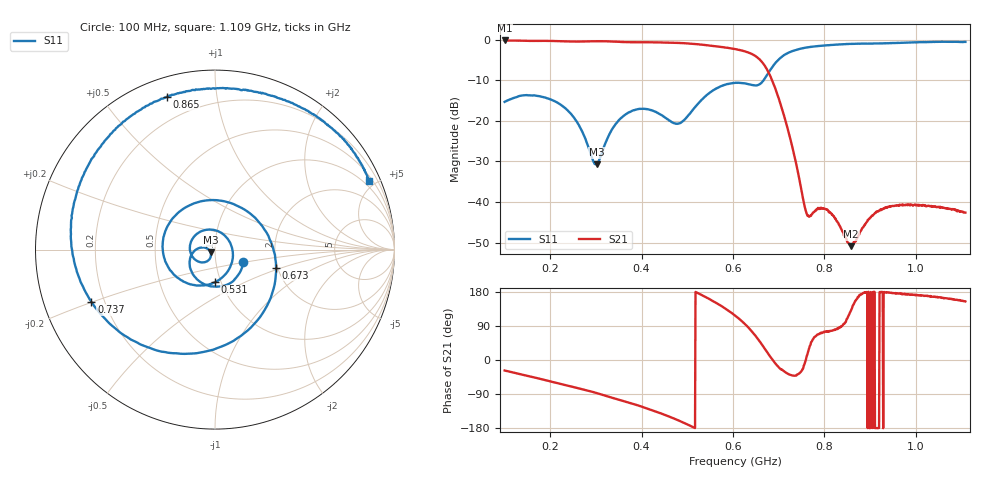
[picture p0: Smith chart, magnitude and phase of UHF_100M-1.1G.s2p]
# HZ S RI R 50
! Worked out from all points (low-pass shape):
!   1010 points, 100 MHz to 1.109 GHz, reference 50 ohm
!   highest |S21| = -0.16 dB at 100 MHz (marker M1); lowest = -50.9 dB at 859 MHz (marker M2)
!   |S21| within 3 dB of the highest: start of sweep to 634.3 MHz
!   lowest |S11| = -30.7 dB at 302 MHz (marker M3), VSWR 1.06, Z = 47.6 - j1.45 ohm
!   |S11| at or under -10 dB: start of sweep to 667 MHz
!   S12 and S22 are empty: the file has one direction only
!   S11 on the Smith chart (normalised r, x): 100 MHz: 1.36, -0.19; 531 MHz: 0.94, -0.35; 673 MHz: 1.96, -0.45; 737 MHz: 0.15, -0.20; 865 MHz: 0.09, +0.73; 1.109 GHz: 0.67, +4.60
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1e8  0.157 -0.0694  0.8688 -0.456  0 0  0 0
2e8  -0.123 -0.1381  0.5353 -0.8068  0 0  0 0
2.69e8  -0.0747 0.0118  0.2202 -0.9263  0 0  0 0
3.02e8  -0.0248 -0.0152  0.0431 -0.9581  0 0  0 0
3.59e8  -0.0913 -0.0672  -0.2891 -0.8931  0 0  0 0
4.37e8  -0.0621 0.1066  -0.6959 -0.6135  0 0  0 0
4.82e8  0.0886 0.0282  -0.8598 -0.3112  0 0  0 0
5.31e8  0.00119 -0.1809  -0.863 0.1242  0 0  0 0
5.65e8  -0.1866 -0.1715  -0.713 0.4203  0 0  0 0
6.05e8  -0.289 0.0545  -0.348 0.6841  0 0  0 0
6.46e8  0.0261 0.2734  0.2305 0.6055  0 0  0 0
6.73e8  0.34 -0.0997  0.4077 0.1807  0 0  0 0
7.02e8  -0.0999 -0.577  0.1645 -0.064  0 0  0 0
7.37e8  -0.6886 -0.2911  0.0242 -0.0212  0 0  0 0
7.59e8  -0.8 0.0168  0.00796 -0.000302  0 0  0 0
7.73e8  -0.796 0.2005  0.00458 0.0054  0 0  0 0
8.09e8  -0.6487 0.5604  0.00183 0.0075  0 0  0 0
8.59e8  -0.3107 0.8331  -0.00191 0.00212  0 0  0 0
8.65e8  -0.269 0.8512  -0.00267 0.00162  0 0  0 0
9e8  -0.0233 0.8955  -0.0064 -4.86e-05  0 0  0 0
9.41e8  0.2252 0.8785  -0.00871 0.000257  0 0  0 0
1.109e9  0.8603 0.3839  -0.00669 0.00317  0 0  0 0
